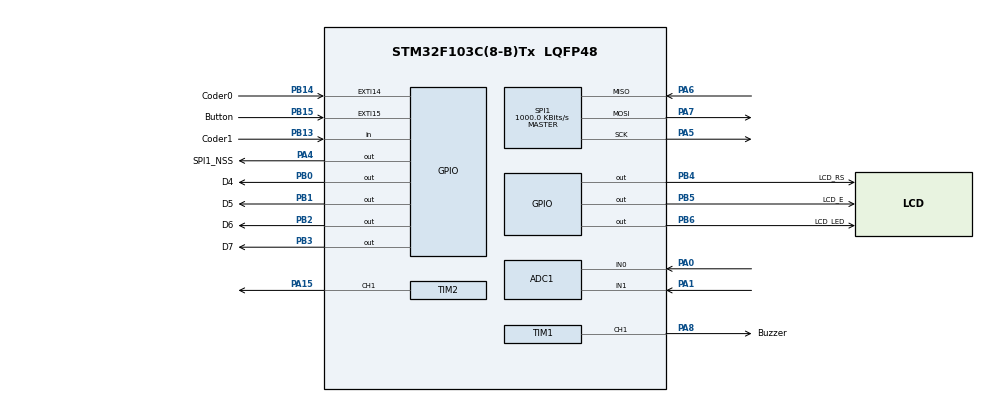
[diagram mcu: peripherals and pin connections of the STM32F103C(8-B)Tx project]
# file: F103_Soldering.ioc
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ADC1.Channel-13\#ChannelRegularConversion=ADC_CHANNEL_0
ADC1.Channel-14\#ChannelRegularConversion=ADC_CHANNEL_1
ADC1.Channel-17\#ChannelRegularConversion=ADC_CHANNEL_TEMPSENSOR
ADC1.Channel-18\#ChannelRegularConversion=ADC_CHANNEL_VREFINT
ADC1.ContinuousConvMode=ENABLE
ADC1.DiscontinuousConvMode=DISABLE
ADC1.EnableInjectedConversion=DISABLE
ADC1.EnableRegularConversion=ENABLE
ADC1.InjNumberOfConversion=4
ADC1.NbrOfConversion=4
ADC1.NbrOfConversionFlag=1
ADC1.Rank-13\#ChannelRegularConversion=1
ADC1.Rank-14\#ChannelRegularConversion=2
ADC1.Rank-17\#ChannelRegularConversion=3
ADC1.Rank-18\#ChannelRegularConversion=4
ADC1.SamplingTime-13\#ChannelRegularConversion=ADC_SAMPLETIME_239CYCLES_5
ADC1.SamplingTime-14\#ChannelRegularConversion=ADC_SAMPLETIME_239CYCLES_5
ADC1.SamplingTime-17\#ChannelRegularConversion=ADC_SAMPLETIME_239CYCLES_5
ADC1.SamplingTime-18\#ChannelRegularConversion=ADC_SAMPLETIME_239CYCLES_5
ADC1.master=1
Dma.ADC1.0.Direction=DMA_PERIPH_TO_MEMORY
Dma.ADC1.0.Instance=DMA1_Channel1
Dma.ADC1.0.MemDataAlignment=DMA_MDATAALIGN_WORD
Dma.ADC1.0.MemInc=DMA_MINC_ENABLE
Dma.ADC1.0.Mode=DMA_CIRCULAR
Dma.ADC1.0.PeriphDataAlignment=DMA_PDATAALIGN_WORD
Dma.ADC1.0.PeriphInc=DMA_PINC_DISABLE
Dma.ADC1.0.Priority=DMA_PRIORITY_LOW
Dma.Request0=ADC1
Mcu.Family=STM32F1
Mcu.Name=STM32F103C(8-B)Tx
Mcu.Package=LQFP48
NVIC.DMA1_Channel1_IRQn=true\:0\:0\:false\:false\:true\:false\:true\:true
NVIC.EXTI15_10_IRQn=true\:0\:0\:false\:false\:true\:true\:true\:true
NVIC.PriorityGroup=NVIC_PRIORITYGROUP_4
PA0-WKUP.Signal=ADCx_IN0
PA1.Signal=ADCx_IN1
PA13.Mode=Serial_Wire
PA13.Signal=SYS_JTMS-SWDIO
PA14.Mode=Serial_Wire
PA14.Signal=SYS_JTCK-SWCLK
PA15.Signal=S_TIM2_CH1_ETR
PA4.GPIO_Label=SPI1_NSS
PA4.GPIO_Speed=GPIO_SPEED_FREQ_MEDIUM
PA4.PinState=GPIO_PIN_SET
PA4.Signal=GPIO_Output
PA5.Mode=Full_Duplex_Master
PA5.Signal=SPI1_SCK
PA6.Mode=Full_Duplex_Master
PA6.Signal=SPI1_MISO
PA7.Mode=Full_Duplex_Master
PA7.Signal=SPI1_MOSI
PA8.GPIO_Label=Buzzer
PA8.Signal=S_TIM1_CH1
PB0.GPIO_Label=D4
PB0.GPIO_Speed=GPIO_SPEED_FREQ_HIGH
PB0.PinState=GPIO_PIN_SET
PB0.Signal=GPIO_Output
PB1.GPIO_Label=D5
PB1.GPIO_Speed=GPIO_SPEED_FREQ_HIGH
PB1.PinState=GPIO_PIN_SET
PB1.Signal=GPIO_Output
PB13.GPIO_Label=Coder1
PB13.GPIO_PuPd=GPIO_PULLUP
PB13.Signal=GPIO_Input
PB14.GPIO_Label=Coder0
PB14.GPIO_ModeDefaultEXTI=GPIO_MODE_IT_FALLING
PB14.GPIO_PuPd=GPIO_PULLUP
PB14.Signal=GPXTI14
PB15.GPIO_Label=Button
PB15.GPIO_ModeDefaultEXTI=GPIO_MODE_IT_FALLING
PB15.GPIO_PuPd=GPIO_PULLUP
PB15.Signal=GPXTI15
PB2.GPIO_Label=D6
PB2.GPIO_Speed=GPIO_SPEED_FREQ_HIGH
PB2.PinState=GPIO_PIN_SET
PB2.Signal=GPIO_Output
PB3.GPIO_Label=D7
PB3.GPIO_Speed=GPIO_SPEED_FREQ_HIGH
PB3.PinState=GPIO_PIN_SET
PB3.Signal=GPIO_Output
PB4.GPIO_Label=LCD_RS
PB4.GPIO_Speed=GPIO_SPEED_FREQ_HIGH
PB4.PinState=GPIO_PIN_SET
PB4.Signal=GPIO_Output
PB5.GPIO_Label=LCD_E
PB5.GPIO_Speed=GPIO_SPEED_FREQ_HIGH
PB5.PinState=GPIO_PIN_SET
PB5.Signal=GPIO_Output
PB6.GPIO_Label=LCD_LED
PB6.Signal=GPIO_Output
ProjectManager.HeapSize=0x200
ProjectManager.StackSize=0x400
ProjectManager.TargetToolchain=STM32CubeIDE
RCC.ADCPresc=RCC_ADCPCLK2_DIV8
RCC.AHBFreq_Value=64000000
RCC.APB1CLKDivider=RCC_HCLK_DIV2
RCC.APB1Freq_Value=32000000
RCC.APB1TimFreq_Value=64000000
RCC.APB2Freq_Value=64000000
RCC.APB2TimFreq_Value=64000000
RCC.HCLKFreq_Value=64000000
RCC.PLLMUL=RCC_PLL_MUL16
RCC.SYSCLKFreq_VALUE=64000000
RCC.SYSCLKSource=RCC_SYSCLKSOURCE_PLLCLK
RCC.USBFreq_Value=64000000
SH.ADCx_IN0.0=ADC1_IN0,IN0
SH.ADCx_IN1.0=ADC1_IN1,IN1
SH.S_TIM1_CH1.0=TIM1_CH1,PWM Generation1 CH1
SH.S_TIM2_CH1_ETR.0=TIM2_CH1,PWM Generation1 CH1
SPI1.BaudRatePrescaler=SPI_BAUDRATEPRESCALER_64
SPI1.CalculateBaudRate=1000.0 KBits/s
SPI1.Direction=SPI_DIRECTION_2LINES
SPI1.Mode=SPI_MODE_MASTER
SPI1.VirtualType=VM_MASTER
TIM1.AutoReloadPreload=TIM_AUTORELOAD_PRELOAD_ENABLE
TIM1.Channel-PWM\ Generation1\ CH1=TIM_CHANNEL_1
TIM1.Prescaler=24
TIM2.AutoReloadPreload=TIM_AUTORELOAD_PRELOAD_ENABLE
TIM2.Channel-PWM\ Generation1\ CH1=TIM_CHANNEL_1
TIM2.Prescaler=24
VP_ADC1_TempSens_Input.Mode=IN-TempSens
VP_ADC1_Vref_Input.Mode=IN-Vrefint
VP_TIM1_VS_ClockSourceINT.Mode=Internal
board=custom

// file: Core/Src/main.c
/* USER CODE BEGIN Header */
/**
  ******************************************************************************
  * @file           : main.c
  * @brief          : Main program body
  ******************************************************************************
  * @attention
  *
  * Copyright (c) 2024 STMicroelectronics.
  * All rights reserved.
  *
  * This software is licensed under terms that can be found in the LICENSE file
  * in the root directory of this software component.
  * If no LICENSE file comes with this software, it is provided AS-IS.
  *
  ******************************************************************************
  */
/* USER CODE END Header */
#include "main.h"
#include "adc.h"
#include "dma.h"
#include "spi.h"
#include "tim.h"
#include "gpio.h"

/* USER CODE BEGIN Includes */
#include "eeprom.h"
#include "HD44780.h"
/* USER CODE END Includes */

/* USER CODE BEGIN PD */
/* Takt citace TIM1: APB2 = 64 MHz, prescaler 24 => 64 MHz / 25 = 2.56 MHz.
   Musi odpovidat TIM_InitStruct.Prescaler v MX_TIM1_Init (tim.c) a nastaveni
   APB2 v SystemClock_Config. Pouziva se pro prepocet kmitoctu v Beep(). */
#define TIM1_TICK_HZ	2560000u

/* --- Rozlozeni bloku nastaveni v EEPROM ---
   [ 0- 1] TemperatureMin      [ 8- 9] StandbyDifference
   [ 2- 3] TemperatureMax      [10-11] StandbyTimerMax
   [ 4- 5] TemperatureStart    [12-13] RegKp
   [ 6- 7] StandbyTemperature  [14-15] RegKi        [16-17] magicka znacka
   POZOR: pri KAZDE zmene poradi nebo poctu polozek zmen EEPROM_MAGIC1, jinak by
   se stara data s jinym rozlozenim nacetla jako platna a nastaveni by se prehazelo. */
#define EEPROM_ADDR		0x0010u		/* adresa bloku nastaveni v EEPROM */
#define EEPROM_LEN		18u			/* delka bloku vcetne magicke znacky */
#define EEPROM_MAGIC0	0xA5u
#define EEPROM_MAGIC1	0x63u		/* v2 - bez nepouzivaneho MeanMax */
/* USER CODE END PD */

/* USER CODE BEGIN PV */
volatile uint8_t		System				= 0;		// ridi zobrazeni na displeji 	0 - normalni,
											//								1 - MENU - prechazi tlacitkem rot koderu
											//								2 - EEPROM - uklada se do pameti po konci rezimu MENU
											//								3 - Standby - kdyz je dlouho stejna teplota
											//								(poruchy resi samostatna promenna Fault)

volatile uint8_t		Menu				= 0;		// pozice v MENU: 0-7 zmena hodnot, 8-10 jen zobrazeni, 11 = konec a ulozeni

volatile uint16_t	TimerBeep			= 0;		// doba trvani tonu, generovano PWM
volatile uint16_t	TimerStart			= 0;		// pocita milisekundy od startu, zastavi se na 10 sekund
volatile uint16_t	TimerSec			= 0;		// pocita cas v milisekundach, pretece pri dosazeni sekundy v preruseni SYSTICK

volatile uint32_t	TemperatureIn		= 0;		// teplota cipu MCU z interniho cidla [0.1 C]
uint8_t		MeanPointer			= 0;		// ukazatel v kruhovem bufferu prumerovani (jen DMA preruseni)

volatile uint32_t	TemperatureMeasure	= 0;		// namerena teplota hrotu po zprumerovani [0.1 C]
volatile uint16_t	SupplyVoltage		= 0;		// napajeci napeti z delice R15/R16 [0.01 V]

/* Cil DMA. Prevodnik dela 4 prevody za sebou, DMA je uklada po 32bitovych
   slovech, takze v poli uint16 lezi na indexech 0, 2, 4, 6 (liche jsou nulove). */
uint16_t	AdResult[8];					// 0 - termoclanek (PA0)
											// 2 - delic napajeni R15/R16 (PA1)
											// 4 - interni teplomer MCU
											// 6 - VREFINT (1.20 V)
/* Kruhove buffery a mezisoucty klouzaveho prumeru - pouzivaji se VYHRADNE
   v DMA preruseni, proto zamerne nejsou volatile (drzi se tim akvizice rychla). */
uint16_t	AdArray0[65];					// termoclanek
uint16_t	AdArray1[65];					// napajeci napeti
uint16_t	AdArray2[65];					// teplomer MCU
uint16_t	AdArray3[65];					// VREFINT
uint32_t	MeanAdd0;
uint32_t	MeanAdd1;
uint32_t	MeanAdd2;
uint32_t	MeanAdd3;
volatile uint16_t	AdResult0;
volatile uint16_t	AdResult1;
volatile uint16_t	AdResult2;
volatile uint16_t	AdResult3;

volatile uint16_t	TemperatureMin		= 1000;		// EEPROM - minimalni teplota
volatile uint16_t	TemperatureMax		= 4000;		// EEPROM - maximalni teplota
volatile uint16_t	TemperatureStart		= 1400;		// EEPROM - nastavena teplota
volatile uint16_t	TemperatureSet		= 1100;		// nastavena teplota v normalnim rezimu, kopiruje se z TemperatureStart
volatile uint16_t	TemperatureSetStandby = 0;		// zaloha teploty, ktera bude vracena po opusteni Standby rezimu

volatile uint16_t	StandbyTemperature	= 1000;		// EEPROM - pozadovana teplota v Standby rezimu
volatile uint16_t	StandbyDifference	= 80;		// EEPROM - pokles teploty, ktery se jeste povazuje za pajeni
volatile uint16_t	StandbyTimerMax		= 300;		// EEPROM - sekund necinnosti do Standby (0 = vypnuto)
volatile uint16_t	TimerStandby		= 0;		// odpocet necinnosti [s], nuluje se pri kazdem pajeni

volatile uint16_t	RegKp				= 500;		// EEPROM - zesileni P slozky (pasmo proporcionality)
volatile uint16_t	RegKi				= 150;		// EEPROM - zesileni I slozky (rychlost dorovnani odchylky)
volatile int16_t	RegError			= 0;		// PI - regulacni odchylka [0.1 C], jen pro zobrazeni v MENU
volatile int32_t	RegIntegral			= 0;		// PI - akumulator integralni slozky
volatile int16_t	HeaterPower			= 0;		// vypocteny vykon topeni v desetinach procenta (0..1000)

uint8_t		EepromBuffer[30];				// Buffer pro zapis a cteni z EEPROM
uint8_t		EepromStatus = 0;				// stav pameti: EEPROM_STATUS_COMPLETE (1) / _ERROR (2)

/* --- Bezpecnost / watchdog --- */
volatile uint8_t	Fault			= 0;	// bitove pole aktivnich poruch (FAULT_*), 0 = OK
volatile uint32_t	PidHeartbeat	= 0;	// inkrementuje regulacni smycka (SysTick) - dukaz, ze zije
volatile uint16_t	HeaterFaultSec	= 0;	// pocet sekund plneho vykonu bez narustu teploty
volatile uint32_t	AdcTicks		= 0;	// inkrementuje akvizicni (DMA) preruseni - dukaz, ze prevodnik bezi
/* USER CODE END PV */

void SystemClock_Config(void);
/* USER CODE BEGIN PFP */
static void Watchdog_Init(void);
static void Watchdog_Refresh(void);
static void Delay_Wd(uint32_t ms);
static void Display_Fault(void);
/* USER CODE END PFP */

int main(void)
{

  /* MCU Configuration--------------------------------------------------------*/

  /* Reset of all peripherals, Initializes the Flash interface and the Systick. */
  HAL_Init();

  /* Configure the system clock */
  SystemClock_Config();

  /* Initialize all configured peripherals */
  MX_GPIO_Init();
  MX_DMA_Init();
  MX_SPI1_Init();
  MX_ADC1_Init();
  MX_TIM1_Init();
  MX_TIM2_Init();
  /* USER CODE BEGIN 2 */
  LL_SYSTICK_EnableIT();

  /* Enkoder i tlacitko se vzorkuji v SysTicku (Inputs_Poll v stm32f1xx_it.c).
     Hranove preruseni se proto zamaskuje - u mechanickych kontaktu generovalo
     na kazdy zakmit dalsi krok. GPIO konfigurace z CubeMX zustava beze zmeny. */
  LL_EXTI_DisableIT_0_31( LL_EXTI_LINE_14 | LL_EXTI_LINE_15 );

  LL_mDelay( 300 );
  HAL_ADC_Start_DMA(&hadc1,(uint32_t*)AdResult, 4);

  /* * * * * * * * * * * * * * * * * * * * * * * * * * */
  /* * * Precte hodnoty promennych z EEPROM        * * */
  /* * * * * * * * * * * * * * * * * * * * * * * * * * */

  EEPROM_SPI_INIT(&hspi1);
  EepromStatus = EEPROM_SPI_ReadBuffer(EepromBuffer, EEPROM_ADDR, EEPROM_LEN );
  if((EepromBuffer[16] == EEPROM_MAGIC0) && (EepromBuffer[17] == EEPROM_MAGIC1)){
	  TemperatureMin     = EepromBuffer[ 0] * 256 + EepromBuffer[ 1];
	  TemperatureMax     = EepromBuffer[ 2] * 256 + EepromBuffer[ 3];
	  TemperatureStart   = EepromBuffer[ 4] * 256 + EepromBuffer[ 5];
	  StandbyTemperature = EepromBuffer[ 6] * 256 + EepromBuffer[ 7];
	  StandbyDifference  = EepromBuffer[ 8] * 256 + EepromBuffer[ 9];
	  StandbyTimerMax    = EepromBuffer[10] * 256 + EepromBuffer[11];
	  RegKp              = EepromBuffer[12] * 256 + EepromBuffer[13];
	  RegKi              = EepromBuffer[14] * 256 + EepromBuffer[15];
  }

  TemperatureSet = TemperatureStart;

  LCD_Init();
  LL_GPIO_SetOutputPin(LCD_LED_GPIO_Port, LCD_LED_Pin);
  LL_mDelay( 250 );
  LCD_Init();
  LCD_Position( 0, 0 );
  LCD_WriteCString( " 03_Soldering AI" );
  LCD_Position( 1, 0 );
  LCD_WriteCString( " 20.7.2026      " );
  Beep( TONE_START1, 100 );
  LL_mDelay( 400 );
  Beep( TONE_START2, 100 );
  LL_mDelay( 400 );
  Beep( TONE_START3, 100 );
  LL_mDelay( 400 );
  LCD_Position( 0, 0 );
  LCD_PrHex( EepromBuffer[16] );					// magicka znacka pro kontrolu obsahu EEPROM
  LCD_Write( ' ' );
  LCD_PrHex( EepromBuffer[17] );
  LCD_WriteCString( "           " );
  LCD_Position( 1, 0 );
  if(EepromStatus==1) {
	  LCD_WriteCString( "EEPROM read OK  " );
  } else {
	  LCD_WriteCString( "EEPROM read ERR " );
	  Beep( TONE_ERROR, 500 );
  }
  LL_mDelay( 1000 );

  /* Poradi je zamerne: nejdriv se do stinovych registru dostane bezpecna hodnota
     (topeni VYPNUTO) a teprve pak se vystup kanalu pripoji na pin.

     POZOR: LL_TIM_OC_Init() v MX_TIM2_Init() nastavuje OCState = DISABLE, takze
     nechava CC1E = 0 a casovac by PA15 vubec nebudil. Pin by zustal v log. 0,
     Q3 by nesepnul, R18 by vytahl gate BUZ11 nahoru a topeni by jelo NATRVALO
     NAPLNO bez ohledu na vypocteny vykon. Kanal je proto nutne povolit rucne -
     stejne jako u TIM1 v Beep(). CubeMX tenhle radek pro LL negeneruje.
     (LL_TIM_EnableAllOutputs zde smysl nema - TIM2 je general-purpose, nema
     registr BDTR ani bit MOE, zapis by sel do rezervovane oblasti.) */
  LL_TIM_SetAutoReload(TIM2, 1000);
  HEATER_OFF();                                      // bezpecna hodnota jeste pred povolenim vystupu
  LL_TIM_GenerateEvent_UPDATE(TIM2);                 // ARR i CCR maji preload - prekopiruj je hned
  LL_TIM_CC_EnableChannel(TIM2, LL_TIM_CHANNEL_CH1); // CC1E - propoj vystup kanalu na PA15
  LL_TIM_EnableCounter(TIM2);

  /* Spust nezavisly watchdog az po startovni sekvenci s dlouhymi prodlevami.
     Kdyz se zasekne hlavni smycka NEBO regulacni preruseni, IWDG resetuje MCU;
     po resetu zustava topeni vypnute (PA15 -> pull-up -> Q3 sepnut -> gate dole). */
  Watchdog_Init();

  /* USER CODE END 2 */

  /* Infinite loop */
  /* USER CODE BEGIN WHILE */
  while (1)
  {
	  Watchdog_Refresh();				// nakrmi IWDG jen pokud regulacni preruseni stale bezi
	  LL_mDelay( 100 );

	  /* Porucha (vadne/odpojene cidlo, prehrati, vadne topeni) ma prednost pred
	     beznym zobrazenim. Topeni uz je vypnute v regulacnim preruseni. */
	  if( Fault != 0 ) {
		  Display_Fault();
		  continue;
	  }

	  switch( System & 0x0F ) {
	  case 0: {									// normalni zobrazeni (odpojene pero resi Display_Fault)
		  LCD_Position( 0, 0 );
		  LCD_WriteCString( "Tsold = " );
		  LCD_PrTemp( (uint16_t) TemperatureMeasure );
		  LCD_WriteCString( " " );
		  LCD_Position( 1, 0 );
		  LCD_PrTemp( TemperatureSet );
		  LCD_WriteCString( "P =" );
		  LCD_PrintNumber( HeaterPower / 10, 3, 0);
		  LCD_WriteCString( "% " );
		  break;
	  }
	  case 1: {									// MENU - polozky 0-7 lze editovat, 11 = konec a ulozeni
		  LCD_Position( 0, 0 );
		  switch( Menu ) {
		  case 0: {
			  LCD_WriteCString( "1 Teplota Tmin  " );
		  	  LCD_Position( 1, 0 );
		  	  LCD_PrTemp( TemperatureMin );				// minimalni teplota, kterou lze nastavit
		  	  LCD_WriteCString( "      " );
		  	  break;
		  }
		  case 1: {
			  LCD_WriteCString( "2 Teplota Tmax  " );
		  	  LCD_Position( 1, 0 );
		  	  LCD_PrTemp( TemperatureMax );				// maximalni teplota, kterou lze nastavit
		  	  LCD_WriteCString( "      " );
		  	  break;
		  }
		  case 2: {
			  LCD_WriteCString( "3 Teplota Tset  " );
			  LCD_Position( 1, 0 );
			  LCD_PrTemp( TemperatureStart );			// pozadovana teplota po zapnuti
			  LCD_WriteCString( "      " );
		  	  break;
		  }
		  case 3: {
		  	  LCD_WriteCString( "4 Teplota Standb" );
		  	  LCD_Position( 1, 0 );
		  	  LCD_PrTemp( StandbyTemperature );			// teplota ve Standby rezimu
		  	  LCD_WriteCString( "      " );
		  	  break;
		  }
		  case 4: {
		  	  LCD_WriteCString( "5 Standby Diff  " );
		  	  LCD_Position( 1, 0 );
		  	  LCD_PrTemp( StandbyDifference );			// pokles teploty, ktery se jeste povazuje za pajeni
		  	  LCD_WriteCString( "       " );
		  	  break;
		  }
		  case 5: {
		  	  LCD_WriteCString( "6 Standby timer " );
		  	  LCD_Position( 1, 0 );
		  	  LCD_PrintNumber( StandbyTimerMax, 4, 0 );	// sekund necinnosti do Standby (0 = vypnuto)
		  	  LCD_WriteCString( " sec      " );
		  	  break;
		  }
		  case 6: {
			  LCD_WriteCString( "7 Zesileni P    " );
			  LCD_Position( 1, 0 );
			  LCD_PrintNumber( RegKp, 4, 0 );			// zesileni proporcionalni slozky
			  LCD_WriteCString( "           " );
			  break;
		  }
		  case 7: {
			  LCD_WriteCString( "8 Zesileni I    " );
			  LCD_Position( 1, 0 );
			  LCD_PrintNumber( RegKi, 4, 0 );			// zesileni integralni slozky
			  LCD_WriteCString( "           " );
			  break;
		  }
		  case 8: {
			  LCD_WriteCString( "9 Odchylka + I  " );
			  LCD_Position( 1, 0 );
			  LCD_PrintNumber( RegError, 4, 0 );		// regulacni odchylka a stav integralu
			  LCD_WriteCString( "  " );
			  LCD_PrintNumber( RegIntegral, 6, 0 );
			  break;
		  }
		  case 9: {
			  LCD_WriteCString( "10 Teplota MCU  " );
			  LCD_Position( 1, 0 );
			  LCD_PrTemp( TemperatureIn );				// teplota cipu z interniho cidla
			  LCD_WriteCString( "       " );
			  break;
		  }
		  case 10: {
			  LCD_WriteCString( "11 Napajeni     " );
			  LCD_Position( 1, 0 );
			  LCD_WriteCString( "   " );
			  LCD_PrintNumber( SupplyVoltage, 4, 2 );	// napajeci napeti z delice R15/R16 [0.01 V]
			  LCD_WriteCString( " V      " );
			  break;
		  }
		  case 11: {
			  LCD_WriteCString( "Exit menu       " );	// konec MENU, System pujde na 2, aby se ulozilo do EEPROM
			  LCD_Position( 1, 0 );
			  LCD_WriteCString( "                " );
			  break;
		  }
		  }
		  if ((System == 0x11) && (Menu < 8)) {			// sipka signalizuje rezim zmeny hodnoty
			  LCD_WriteCString( "^" );
		  } else {
		  	  LCD_WriteCString( " " );
		  }
		  break;
	  }
	  case 2: {									// ulozeni nastaveni do EEPROM
		  LCD_Position( 0, 0 );
		  LCD_WriteCString( "   W R I T E    " );
		  LCD_Position( 1, 0 );
		  LCD_WriteCString( "   E E P R O M  " );
		  Delay_Wd( 500 );						// dlouhe cekani UI - prubezne krmi watchdog
		  LCD_Clear();
		  System = 0;
		  EepromBuffer[ 0] = TemperatureMin >> 8;										// zapise promenne do EEPROM
		  EepromBuffer[ 1] = (uint8_t) (TemperatureMin);
		  EepromBuffer[ 2] = TemperatureMax >> 8;
		  EepromBuffer[ 3] = (uint8_t) (TemperatureMax);
		  EepromBuffer[ 4] = TemperatureStart >> 8;
		  EepromBuffer[ 5] = (uint8_t) (TemperatureStart);
		  EepromBuffer[ 6] = StandbyTemperature >> 8;
		  EepromBuffer[ 7] = (uint8_t) (StandbyTemperature);
		  EepromBuffer[ 8] = StandbyDifference >> 8;
		  EepromBuffer[ 9] = (uint8_t) (StandbyDifference);
		  EepromBuffer[10] = StandbyTimerMax >> 8;
		  EepromBuffer[11] = (uint8_t) (StandbyTimerMax);
		  EepromBuffer[12] = RegKp >> 8;
		  EepromBuffer[13] = (uint8_t) (RegKp);
		  EepromBuffer[14] = RegKi >> 8;
		  EepromBuffer[15] = (uint8_t) (RegKi);
		  EepromBuffer[16] = EEPROM_MAGIC0;
		  EepromBuffer[17] = EEPROM_MAGIC1;
		  EEPROM_SPI_INIT(&hspi1);
		  EepromStatus = EEPROM_SPI_WriteBuffer(EepromBuffer, EEPROM_ADDR, EEPROM_LEN );
		  if(EepromStatus==1) {
			  LCD_WriteCString( "EEPROM write OK " );
		  } else {
			  LCD_WriteCString( "EEPROM write ERR" );
			  Beep( TONE_ERROR, 500 );
		  }
		  Delay_Wd( 1000 );						// dlouhe cekani UI - prubezne krmi watchdog
		  break;
	  }
	  case 3: {
		  LCD_Position( 0, 0 );							// Standby - pero lezi ve stojanku
		  LCD_WriteCString( "* * STANDBY * * " );
		  LCD_Position( 1, 0 );
		  LCD_WriteCString( "Tsold=" );
		  LCD_PrTemp( (uint16_t) TemperatureMeasure );	// teplota klesa k StandbyTemperature
		  LCD_WriteCString( " " );
		  break;
	  }
	  }

    /* USER CODE END WHILE */

  }
}

void SystemClock_Config(void)
{
  LL_FLASH_SetLatency(LL_FLASH_LATENCY_2);
  while(LL_FLASH_GetLatency()!= LL_FLASH_LATENCY_2)
  {
  }
  LL_RCC_HSI_SetCalibTrimming(16);
  LL_RCC_HSI_Enable();

   /* Wait till HSI is ready */
  while(LL_RCC_HSI_IsReady() != 1)
  {

  }
  LL_RCC_PLL_ConfigDomain_SYS(LL_RCC_PLLSOURCE_HSI_DIV_2, LL_RCC_PLL_MUL_16);
  LL_RCC_PLL_Enable();

   /* Wait till PLL is ready */
  while(LL_RCC_PLL_IsReady() != 1)
  {

  }
  LL_RCC_SetAHBPrescaler(LL_RCC_SYSCLK_DIV_1);
  LL_RCC_SetAPB1Prescaler(LL_RCC_APB1_DIV_2);
  LL_RCC_SetAPB2Prescaler(LL_RCC_APB2_DIV_1);
  LL_RCC_SetSysClkSource(LL_RCC_SYS_CLKSOURCE_PLL);

   /* Wait till System clock is ready */
  while(LL_RCC_GetSysClkSource() != LL_RCC_SYS_CLKSOURCE_STATUS_PLL)
  {

  }
  LL_SetSystemCoreClock(64000000);

   /* Update the time base */
  if (HAL_InitTick (TICK_INT_PRIORITY) != HAL_OK)
  {
    Error_Handler();
  }
  LL_RCC_SetADCClockSource(LL_RCC_ADC_CLKSRC_PCLK2_DIV_8);
}

/* USER CODE BEGIN 4 */

/* Pipnuti na piezomenici. 'Tone' je pozadovany kmitocet v Hz, 'Time' delka v ms.
   Perioda v ticich citace = TIM1_TICK_HZ / Tone, takze ARR = ticky - 1.
   Strida se drzi na ~50 %, aby hlasitost nezavisela na vysce tonu (pri pevne
   hodnote compare byly nizke tony temer neslysitelne). */
void Beep( uint32_t Tone, uint16_t Time) {
	uint32_t ticks;

	if( Tone == 0 ) return;						// ochrana proti deleni nulou

	ticks = TIM1_TICK_HZ / Tone;				// pocet ticku na jednu periodu
	if( ticks < 2 )     ticks = 2;				// horni mez kmitoctu (ARR musi zustat >= 1)
	if( ticks > 65536 ) ticks = 65536;			// dolni mez ~39 Hz (ARR je 16bitovy)

	LL_TIM_SetAutoReload(TIM1, ticks - 1);				// perioda: f = TIM1_TICK_HZ / (ARR+1)
	LL_TIM_OC_SetCompareCH1(TIM1, ticks / 2);			// strida ~50 %
	LL_TIM_GenerateEvent_UPDATE(TIM1);					// ARR i CCR maji preload - prepis stinove registry hned

	/* Cesta signalu na pin: OC1REF -> CC1P (polarita) -> CC1E -> MOE -> PA8.
	   POZOR: CubeMX generuje LL_TIM_OC_Init() s OCState = LL_TIM_OCSTATE_DISABLE,
	   coz nechava CC1E = 0, takze casovac pin vubec nebudi. Kanal je proto nutne
	   povolit rucne - bez tohoto radku bzucak mlci bez ohledu na ARR/CCR. */
	LL_TIM_CC_EnableChannel(TIM1, LL_TIM_CHANNEL_CH1);	// CC1E - pripoj vystup kanalu na pin
	LL_TIM_EnableAllOutputs(TIM1);						// MOE - hlavni povoleni vystupu (jen TIM1/TIM8)
	LL_TIM_EnableCounter(TIM1);							// CEN - rozbeh citace
	TimerBeep = Time;
}

/* ====================================================================== */
/*  Bezpecnost: watchdog + signalizace poruch                             */
/* ====================================================================== */

/* Spusti nezavisly watchdog (IWDG) s prodlevou ~1 s. IWDG bezi z LSI (~40 kHz)
   a je nezavisly na jadre i na maskovani preruseni - jakmile prestane byt
   "krmen", tvrde resetuje MCU. */
static void Watchdog_Init(void)
{
	IWDG->KR  = 0x0000CCCCu;			// start IWDG (zaroven natvrdo zapne LSI)
	IWDG->KR  = 0x00005555u;			// odemkne zapis do PR/RLR
	IWDG->PR  = 0x04u;					// delicka /64  => 40 kHz / 64 = 625 Hz
	IWDG->RLR = 625u;					// 625 / 625 Hz = ~1.0 s
	while( IWDG->SR != 0u ) { }			// pocka na zapsani PR/RLR
	IWDG->KR  = 0x0000AAAAu;			// prvni nakrmeni (reload)
}

/* Nakrmi IWDG, ale JEN pokud se od minula posunul PidHeartbeat - tedy pokud
   regulacni smycka stale bezi. Diky tomu watchdog odhali nejen zaseknutou
   hlavni smycku, ale i "mrtvou" regulaci (kdyby zustala topit). */
static void Watchdog_Refresh(void)
{
	static uint32_t last  = 0u;
	static uint8_t  first = 1u;
	uint32_t now = PidHeartbeat;
	if( first || (now != last) ) {
		first = 0u;
		last  = now;
		IWDG->KR = 0x0000AAAAu;			// reload
	}
}

/* Blokujici prodleva, ktera prubezne krmi watchdog (pro dlouha cekani v UI). */
static void Delay_Wd(uint32_t ms)
{
	while( ms ) {
		uint32_t chunk = (ms > 50u) ? 50u : ms;
		LL_mDelay( chunk );
		ms -= chunk;
		Watchdog_Refresh();
	}
}

/* Zobrazi aktivni poruchu a obcas pipne. Topeni je v tu chvili uz vypnute
   (rozhodnuto v regulacni smycce podle promenne Fault). */
static void Display_Fault(void)
{
	static uint8_t beepDiv = 0u;
	LCD_Position( 0, 0 );
	if(      Fault & FAULT_NO_IRON )  LCD_WriteCString( "  CHYBA: cidlo  " );
	else if( Fault & FAULT_OVERTEMP ) LCD_WriteCString( " CHYBA: prehrati" );
	else if( Fault & FAULT_RUNAWAY )  LCD_WriteCString( "CHYBA: topi samo" );
	else if( Fault & FAULT_ADC )      LCD_WriteCString( "CHYBA: prevodnik" );
	else                              LCD_WriteCString( " CHYBA: topeni  " );
	LCD_Position( 1, 0 );
	if( Fault & FAULT_NO_IRON )       LCD_WriteCString( "pripoj  pero    " );
	else                              LCD_WriteCString( "stiskni  knoflik" );
	if( ++beepDiv >= 15u ) {			// kratke pipnuti ~1x za 1.5 s
		beepDiv = 0u;
		Beep( TONE_FAULT, 40 );
	}
}
/* USER CODE END 4 */

void Error_Handler(void)
{
  /* USER CODE BEGIN Error_Handler_Debug */
  /* User can add his own implementation to report the HAL error return state */
  HEATER_OFF();           /* fail-safe: vypni topeni jeste pred zastavenim */
  __disable_irq();
  while (1)
  {
    /* IWDG (pokud uz bezi) timto MCU za ~1 s resetuje -> cisty start, topeni OFF */
  }
  /* USER CODE END Error_Handler_Debug */
}
